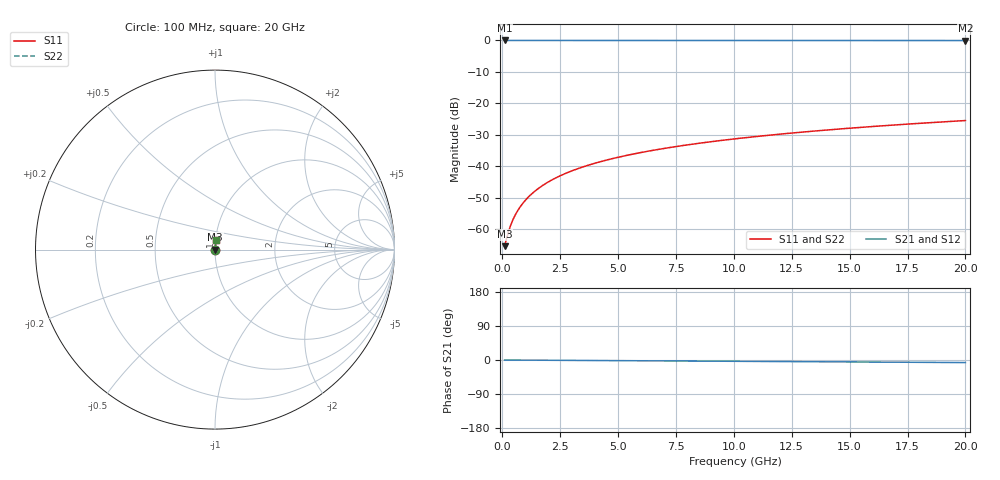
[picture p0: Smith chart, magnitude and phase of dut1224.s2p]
! Touchstone file exported from HFSS 2026.1.0
!  File:  C:/ffzhzh/LocalFiles/Ansys_Project_Files/temp_train_TSV_1224_1783193126_18472.aedt
!  Generated:  03:27:23 AM Jul  5, 2026
!  Design:  TSV
!  Project:  temp_train_TSV_1224_1783193126_18472
! Variables:
!  h_bsmrdl = 2um
!  h_ox = 20um
!  h_rdl = 5um
!  h_sub = 58.57um
!  h_tmrdl = 5um
!  h_tsv = 58.57um
!  h_via = 3um
!  l_bsmrdl = 300um
!  l_sub = 408.02um
!  l_tmrdl = 200um
!  m_sub = 200um
!  pitch = 32.85um
!  r_tsv = 4.01um
!  s_tmrdl = 10um
!  w_bsmrdl = 18um
!  w_sub = 500um
!  w_tmrdl = 12um
!  x_tsv_center1 = 206um
!  x_tsv_center2 = 524um
!  x_tsv_center3 = 736um
!  x_tsv_center4 = 1054um
!  x_tsv_center5 = 1266um
!  x_tsv_center6 = 1584um
# GHz S MA R 50.000000
! Terminal data exported
! Port[1] = TSV1_1_T1
! Port[2] = TSV1_1_T2
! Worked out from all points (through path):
!   200 points, 100 MHz to 20 GHz, reference 50 ohm
!   highest |S21| = 0.00 dB at 100 MHz (marker M1); lowest = 0.0 dB at 20 GHz (marker M2)
!   lowest |S11| = -65.3 dB at 100 MHz (marker M3), VSWR 1.00, Z = 50 + j0.03 ohm
!   |S11| at or under -10 dB: start of sweep to end of sweep
!   |S22| runs from -65.3 to -25.4 dB; largest |S21 - S12| = 3.1e-15
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0.1  0.0005418 33.6  0.9995 -0.0  0.9995 -0.0  0.0005418 33.6
! Gamma 0 0 0 0
! Port Impedance 50 0 50 0
0.2  0.0007534 52.2  0.9995 -0.1  0.9995 -0.1  0.0007534 52.2
0.3  0.001003 61.7  0.9995 -0.1  0.9995 -0.1  0.001003 61.7
0.4  0.001266 67.4  0.9995 -0.1  0.9995 -0.1  0.001266 67.4
0.5  0.001534 71.1  0.9995 -0.2  0.9995 -0.2  0.001534 71.1
0.6  0.001806 73.7  0.9995 -0.2  0.9995 -0.2  0.001806 73.7
0.8  0.002356 77.1  0.9995 -0.3  0.9995 -0.3  0.002356 77.1
1.1  0.00319 80.0  0.9995 -0.4  0.9995 -0.4  0.00319 80.0
1.5  0.004309 82.0  0.9994 -0.5  0.9994 -0.5  0.004309 82.0
1.8  0.005149 82.9  0.9994 -0.6  0.9994 -0.6  0.005149 82.9
2.1  0.005988 83.4  0.9994 -0.7  0.9994 -0.7  0.005988 83.4
2.7  0.007659 84.0  0.9993 -0.9  0.9993 -0.9  0.007659 84.0
3.5  0.009871 84.4  0.9992 -1.2  0.9992 -1.2  0.009871 84.4
4.2  0.01179 84.4  0.9991 -1.5  0.9991 -1.5  0.01179 84.4
5  0.01396 84.4  0.999 -1.7  0.999 -1.7  0.01396 84.4
5.9  0.01639 84.3  0.9988 -2.0  0.9988 -2.0  0.01639 84.3
6.8  0.0188 84.2  0.9987 -2.3  0.9987 -2.3  0.0188 84.2
8.3  0.02279 84.0  0.9985 -2.8  0.9985 -2.8  0.02279 84.0
10.1  0.02755 83.6  0.9982 -3.5  0.9982 -3.5  0.02755 83.6
13.4  0.03624 82.9  0.9977 -4.6  0.9977 -4.6  0.03624 82.9
16.7  0.04488 82.0  0.9972 -5.7  0.9972 -5.7  0.04488 82.0
20  0.05348 81.1  0.9966 -6.8  0.9966 -6.8  0.05348 81.1
